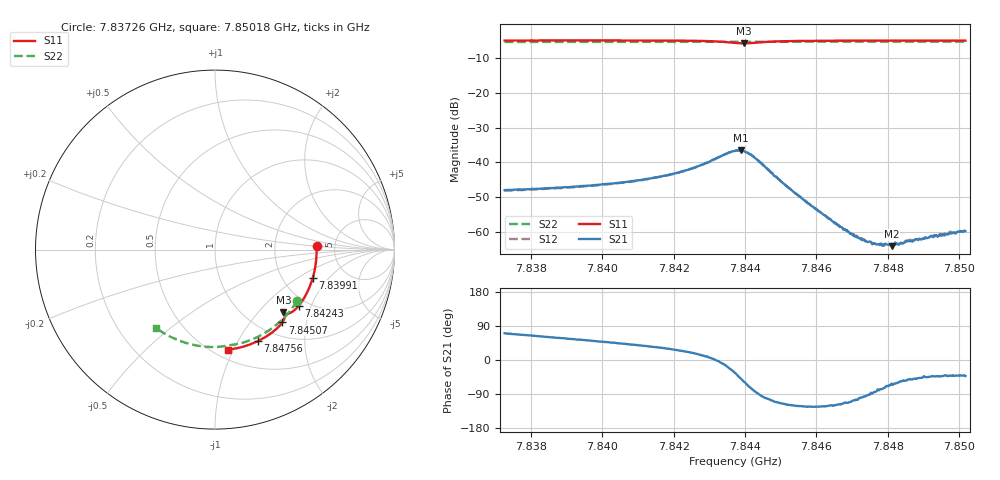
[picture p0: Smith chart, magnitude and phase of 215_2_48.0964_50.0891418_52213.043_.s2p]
#  HZ  S  RI  R  50.00
! Rohde & Schwarz Vector Network Analyzer
! Rohde-Schwarz,ZNB20-2Port,1311601062101988,3.16
! Created: UTC 12/23/2023, 3:56:11 AM
! freq[Hz]  re:S11  im:S11  re:S21  im:S21  re:S12  im:S12  re:S22  im:S22
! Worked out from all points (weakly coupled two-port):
!   401 points, 7.83726 GHz to 7.85018 GHz, reference 50 ohm
!   highest |S21| = -36.51 dB at 7.84388 GHz (marker M1); lowest = -64.1 dB at 7.84811 GHz (marker M2)
!   lowest |S11| = -5.8 dB at 7.84398 GHz (marker M3), VSWR 3.13, Z = 72.9 - j69 ohm
!   |S11| at or under -10 dB: nowhere
!   |S22| runs from -5.4 to -5.3 dB; largest |S21 - S12| = 0.00032
!   S11 on the Smith chart (normalised r, x): 7.83726 GHz: 3.60, +0.20; 7.83991 GHz: 2.93, -1.35; 7.84243 GHz: 1.79, -1.64; 7.84507 GHz: 1.25, -1.46; 7.84756 GHz: 0.81, -1.21; 7.85018 GHz: 0.58, -0.95
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7.837261e9  0.566 0.0187  0.00132 0.00376  0.00135 0.00368  0.4578 -0.2856
7.839424e9  0.5531 -0.1246  0.00275 0.00365  0.0027 0.0036  0.3614 -0.4019
7.839908e9  0.5449 -0.1561  0.00314 0.00359  0.00307 0.00359  0.3354 -0.4238
7.841587e9  0.5009 -0.2623  0.00521 0.00333  0.00514 0.00336  0.2361 -0.4869
7.842427e9  0.4671 -0.3127  0.00741 0.0028  0.00735 0.00285  0.1816 -0.5099
7.843234e9  0.4188 -0.3532  0.0117 -0.000557  0.0117 -0.000613  0.1271 -0.5253
7.843718e9  0.3846 -0.3545  0.0121 -0.0082  0.0123 -0.00808  0.0946 -0.5308
7.84388e9  0.3808 -0.3493  0.0098 -0.0113  0.00992 -0.011  0.0844 -0.5323
7.843977e9  0.3812 -0.3472  0.00763 -0.0122  0.00773 -0.0122  0.0783 -0.5333
7.844267e9  0.3889 -0.3529  0.00152 -0.0116  0.00164 -0.0117  0.0597 -0.5369
7.845074e9  0.3745 -0.4061  -0.00213 -0.00448  -0.00217 -0.00454  0.00343 -0.5426
7.845882e9  0.3348 -0.4487  -0.00128 -0.00195  -0.0013 -0.00196  -0.0537 -0.5411
7.847012e9  0.2704 -0.493  -0.000271 -0.00087  -0.000294 -0.000866  -0.132 -0.5282
7.847561e9  0.2376 -0.5104  1.44e-05 -0.000694  1.99e-05 -0.000661  -0.1692 -0.5178
7.847787e9  0.2237 -0.5165  0.000149 -0.000643  0.000148 -0.000655  -0.1843 -0.5128
7.848045e9  0.2075 -0.5234  0.00027 -0.000607  0.000267 -0.000589  -0.2012 -0.5065
7.84811e9  0.2036 -0.5249  0.000289 -0.000551  0.000278 -0.000613  -0.2054 -0.5048
7.848981e9  0.1482 -0.5431  0.000558 -0.000572  0.000536 -0.000584  -0.2609 -0.4791
7.849175e9  0.1357 -0.5463  0.000605 -0.000591  0.000583 -0.00061  -0.2728 -0.4727
7.849498e9  0.1146 -0.5509  0.000672 -0.000622  0.000647 -0.000592  -0.2922 -0.4609
7.849692e9  0.102 -0.5534  0.000673 -0.000618  0.000698 -0.000649  -0.3036 -0.4537
7.850176e9  0.0703 -0.5582  0.000758 -0.000686  0.000827 -0.000669  -0.3315 -0.434
